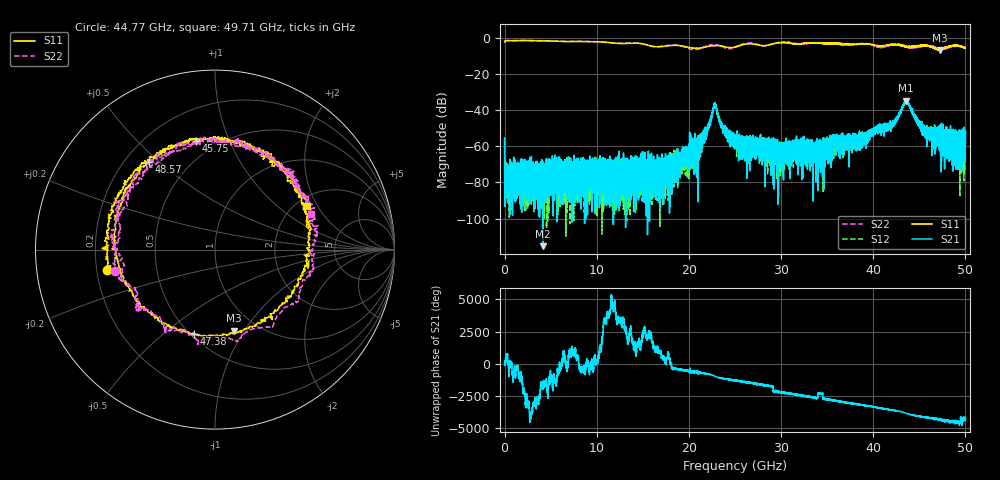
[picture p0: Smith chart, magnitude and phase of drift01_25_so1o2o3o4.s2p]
!Created with skrf (http://scikit-rf.org).
# Hz S RI R 50.0
!freq ReS11 ImS11 ReS21 ImS21 ReS12 ImS12 ReS22 ImS22
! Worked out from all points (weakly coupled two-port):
!   10001 points, 300 kHz to 50 GHz, reference 50 ohm
!   highest |S21| = -34.69 dB at 43.58 GHz (marker M1); lowest = -115.3 dB at 4.135 GHz (marker M2)
!   lowest |S11| = -6.7 dB at 47.2 GHz (marker M3), VSWR 2.74, Z = 39.1 - j45.2 ohm
!   |S11| at or under -10 dB: nowhere
!   |S22| runs from -6.4 to -1.4 dB; largest |S21 - S12| = 0.0042
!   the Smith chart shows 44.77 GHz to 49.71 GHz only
!   S11 on the Smith chart (normalised r, x): 44.77 GHz: 0.24, -0.09; 45.75 GHz: 0.39, +0.76; 47.38 GHz: 0.52, -0.64; 48.57 GHz: 0.30, +0.46; 49.71 GHz: 2.29, +1.66
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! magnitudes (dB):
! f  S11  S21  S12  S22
! 300 kHz  -2.1  -55.3  -55.9  -2.1
! 315.3 MHz  -1.4  -77.5  -81.8  -1.4
! 4.135 GHz  -1.6  -115.3  -78.6  -1.5
! 8.335 GHz  -1.9  -68.7  -80.8  -1.8
! 16.67 GHz  -4.8  -86.8  -76.1  -4.8
! 20.8 GHz  -5.6  -68.1  -58.8  -6.2
! 21.93 GHz  -4.8  -52.8  -50.1  -4.5
! 22.8 GHz  -4.3  -36.0  -36.5  -4.0
! 23.8 GHz  -4.7  -50.6  -50.4  -5.0
! 25 GHz  -5.0  -57.3  -57.2  -5.1
! 29.76 GHz  -2.7  -66.2  -65.5  -2.4
! 31.78 GHz  -3.3  -62.6  -60.3  -3.3
! 33.34 GHz  -2.6  -61.5  -58.9  -2.7
! 41.67 GHz  -3.9  -47.9  -50.0  -4.3
! 43.58 GHz  -4.8  -34.7  -35.0  -4.8
! 44.77 GHz  -4.3  -46.2  -45.4  -4.9
! 45.75 GHz  -4.2  -52.1  -53.5  -4.3
! 47.2 GHz  -6.7  -57.7  -60.9  -5.9
! 47.38 GHz  -6.3  -50.4  -51.0  -5.9
! 48.57 GHz  -4.3  -55.0  -60.4  -4.6
! 49.71 GHz  -4.9  -56.8  -58.3  -4.9
! 50 GHz  -5.6  -57.4  -54.2  -5.4
